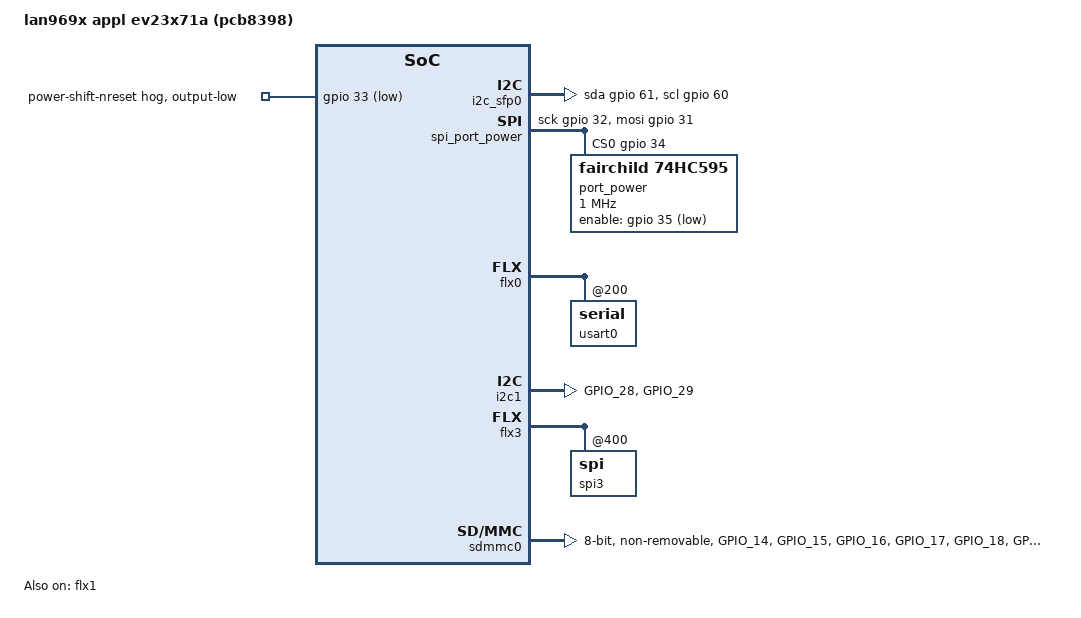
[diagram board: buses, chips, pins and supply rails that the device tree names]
// SPDX-License-Identifier: (GPL-2.0+ OR MIT)

/*
 * Copyright (c) 2022 Microchip Technology Inc. and its subsidiaries.
 */

/dts-v1/;

#include "lan969x.dtsi"

/ {
	model = "lan969x appl ev23x71a (pcb8398)";
	aliases {
		serial0 = &usart0;
		i2c0   = &i2c1;
		i2c100 = &i2c_sfp0;
//		i2c101 = &i2c_sfp1;
	};

	chosen {
		stdout-path = "serial0:115200n8";
	};

	i2c_sfp0: i2c-sfp0 {
		compatible = "i2c-gpio";
		sda-gpios = <&gpio 61 (GPIO_ACTIVE_HIGH | GPIO_OPEN_DRAIN)>;
		scl-gpios = <&gpio 60 (GPIO_ACTIVE_HIGH | GPIO_OPEN_DRAIN)>;
		i2c-gpio,delay-us = <2>;
		#address-cells = <1>;
		#size-cells = <0>;
		status = "okay";
	};

//	i2c_sfp1: i2c-sfp1 {
//		compatible = "i2c-gpio";
//		sda-gpios = <&gpio 36 (GPIO_ACTIVE_HIGH | GPIO_OPEN_DRAIN)>;
//		/* TODO: Update SCL GPIO after hardware rework adds second SCL signal */
//		scl-gpios = <&gpio 60 (GPIO_ACTIVE_HIGH | GPIO_OPEN_DRAIN)>;
//		i2c-gpio,delay-us = <2>;
//		#address-cells = <1>;
//		#size-cells = <0>;
//		status = "okay";
//	};

	/* 24V port power control via two daisy-chained 74HC595 shift registers */
	spi_port_power: spi-gpio-power {
		compatible = "spi-gpio";
		#address-cells = <1>;
		#size-cells = <0>;

		sck-gpios = <&gpio 32 GPIO_ACTIVE_HIGH>;   /* SHIFT_CLK (SH_CP) */
		mosi-gpios = <&gpio 31 GPIO_ACTIVE_HIGH>;  /* SER_DATA_IN (DS) */
		cs-gpios = <&gpio 34 GPIO_ACTIVE_HIGH>;    /* LATCH_CLK (ST_CP) */
		num-chipselects = <1>;

		port_power: gpio-expander@0 {
			compatible = "fairchild,74hc595";
			reg = <0>;
			gpio-controller;
			#gpio-cells = <2>;
			registers-number = <2>;  /* Two 595s daisy-chained */
			enable-gpios = <&gpio 35 GPIO_ACTIVE_LOW>;  /* nOUTPUT_EN (OE) */
			spi-max-frequency = <1000000>;
		};
	};

	switch_vtss: switch_vtss@e0000000 {
		compatible = "mchp,lan969x-switch-appl";
		reg = <0xe00c0000 0x0010000>,
		      <0xe2010000 0x1410000>;
		reg-names = "cpu", "dev";
		resets = <&reset 0>;
		reset-names = "switch";

		interrupts = <GIC_SPI 10 IRQ_TYPE_LEVEL_HIGH>,
			     <GIC_SPI 88 IRQ_TYPE_LEVEL_HIGH>;
		interrupt-names = "xtr", "fdma";
	};

	switch_ifmux {
		compatible = "microchip,lan969x-ifmux";
		status = "okay";
	};
};

&flx0 {
	atmel,flexcom-mode = <ATMEL_FLEXCOM_MODE_USART>;
	status = "okay";

	usart0: serial@200 {
		pinctrl-0 = <&fc0_pins>;
		pinctrl-names = "default";
		status = "okay";
	};
};

&flx1 {
	atmel,flexcom-mode = <ATMEL_FLEXCOM_MODE_TWI>;
	status = "okay";

	i2c1: i2c@600 {
		pinctrl-0 = <&fc1_pins>;
		pinctrl-names = "default";
		i2c-analog-filter;
		i2c-digital-filter;
		i2c-digital-filter-width-ns = <35>;
		i2c-sda-hold-time-ns = <1500>;
		status = "okay";
	};
};

&flx3 {
	atmel,flexcom-mode = <ATMEL_FLEXCOM_MODE_SPI>;
	status = "okay";

	spi3: spi@400 {
		pinctrl-0 = <&fc3_pins>;
		pinctrl-names = "default";
		cs-gpios = <&gpio 57 GPIO_ACTIVE_LOW>,
			   <&gpio 58 GPIO_ACTIVE_LOW>,
			   <&gpio 59 GPIO_ACTIVE_LOW>;
		num-cs = <3>;
		status = "okay";

		adc0: adc@0 {
			compatible = "adi,ad7689";
			reg = <0>;
			spi-max-frequency = <10000000>;

			/* Software fuse: trip GPIOs from 74HC595 shift register */
			trip-gpios = <&port_power 0 GPIO_ACTIVE_HIGH>,
				     <&port_power 1 GPIO_ACTIVE_HIGH>,
				     <&port_power 2 GPIO_ACTIVE_HIGH>,
				     <&port_power 3 GPIO_ACTIVE_HIGH>,
				     <&port_power 4 GPIO_ACTIVE_HIGH>,
				     <&port_power 5 GPIO_ACTIVE_HIGH>,
				     <&port_power 6 GPIO_ACTIVE_HIGH>,
				     <&port_power 7 GPIO_ACTIVE_HIGH>;
			fuse-threshold = <2000>;
			fuse-poll-hz = <2000>;
			fuse-consec-count = <3>;
		};

		adc1: adc@1 {
			compatible = "adi,ad7689";
			reg = <1>;
			spi-max-frequency = <10000000>;

			trip-gpios = <&port_power 8 GPIO_ACTIVE_HIGH>,
				     <&port_power 9 GPIO_ACTIVE_HIGH>,
				     <&port_power 10 GPIO_ACTIVE_HIGH>,
				     <&port_power 11 GPIO_ACTIVE_HIGH>,
				     <&port_power 12 GPIO_ACTIVE_HIGH>,
				     <&port_power 13 GPIO_ACTIVE_HIGH>,
				     <&port_power 14 GPIO_ACTIVE_HIGH>,
				     <&port_power 15 GPIO_ACTIVE_HIGH>;
			fuse-threshold = <2000>;
			fuse-poll-hz = <2000>;
			fuse-consec-count = <3>;
		};

		adc2: adc@2 {
			compatible = "adi,ad7689";
			reg = <2>;
			spi-max-frequency = <10000000>;
			/* Bus voltage monitoring only — no fuse trip GPIOs */
		};
	};
};

&flx2 {
	status = "disabled";
};

&gpio {
	emmc_sd_pins: emmc-sd-pins {
		/* eMMC_SD - CMD, CLK, D0, D1, D2, D3, D4, D5, D6, D7, RSTN */
		pins = "GPIO_14", "GPIO_15", "GPIO_16", "GPIO_17",
		       "GPIO_18", "GPIO_19", "GPIO_20", "GPIO_21",
		       "GPIO_22", "GPIO_23", "GPIO_24";
		function = "emmc_sd";
	};

	fc0_pins: fc0-pins {
		pins = "GPIO_3", "GPIO_4";
		function = "fc";
	};

	fc1_pins: fc1-pins {
		pins = "GPIO_28", "GPIO_29";
		function = "fc";
	};

	fc3_pins: fc3-pins {
		pins = "GPIO_54", "GPIO_55", "GPIO_56";
		function = "fc";
	};
};

&gpio {
	/delete-property/ interrupts;
	/delete-property/ interrupt-controller;
	/delete-property/ #interrupt-cells;

	/* Hold 74HC595 nSHIFT_RESET (MR) pin high (deasserted)
	 *
	 * This logic seems backwards, but setting output-low on
	 * ACTIVE_LOW means the pin is held high (deasserted)
	 */
	power_shift_reset_hog {
		gpio-hog;
		gpios = <33 GPIO_ACTIVE_LOW>;
		output-low;
		line-name = "power-shift-nreset";
	};
};

&sdmmc0 {
	pinctrl-0 = <&emmc_sd_pins>;
	pinctrl-names = "default";
	max-frequency = <100000000>;
	bus-width = <8>;
	mmc-ddr-1_8v;
	mmc-hs200-1_8v;
	non-removable;
	disable-wp;
	status = "okay";
};

&sgpio {
	status = "disabled";
};

&uio0 {
	interrupts = <GIC_SPI 17 IRQ_TYPE_LEVEL_HIGH>,
		     <GIC_SPI  8 IRQ_TYPE_LEVEL_HIGH>,
		     <GIC_SPI  9 IRQ_TYPE_LEVEL_HIGH>,
		     <GIC_SPI 74 IRQ_TYPE_LEVEL_HIGH>,
		     <GIC_SPI 16 IRQ_TYPE_LEVEL_HIGH>,
		     <GIC_SPI 15 IRQ_TYPE_LEVEL_HIGH>,
		     <GIC_SPI 111 IRQ_TYPE_LEVEL_HIGH>,
		     <GIC_SPI 112 IRQ_TYPE_LEVEL_HIGH>,
		     <GIC_SPI 113 IRQ_TYPE_LEVEL_HIGH>,
		     <GIC_SPI 114 IRQ_TYPE_LEVEL_HIGH>,
		     <GIC_SPI 115 IRQ_TYPE_LEVEL_HIGH>,
		     <GIC_SPI 116 IRQ_TYPE_LEVEL_HIGH>,
		     <GIC_SPI 117 IRQ_TYPE_LEVEL_HIGH>,
		     <GIC_SPI 118 IRQ_TYPE_LEVEL_HIGH>,
		     <GIC_SPI 119 IRQ_TYPE_LEVEL_HIGH>,
		     <GIC_SPI 120 IRQ_TYPE_LEVEL_HIGH>;
	interrupt-names = "master", "ptp_sync", "ptp_rdy", "oam_vop",
			  "sgpio", "gpio", "sd10g_kr0", "sd10g_kr1",
			  "sd10g_kr2", "sd10g_kr3", "sd10g_kr4",
			  "sd10g_kr5", "sd10g_kr6", "sd10g_kr7",
			  "sd10g_kr8", "sd10g_kr9";
};
